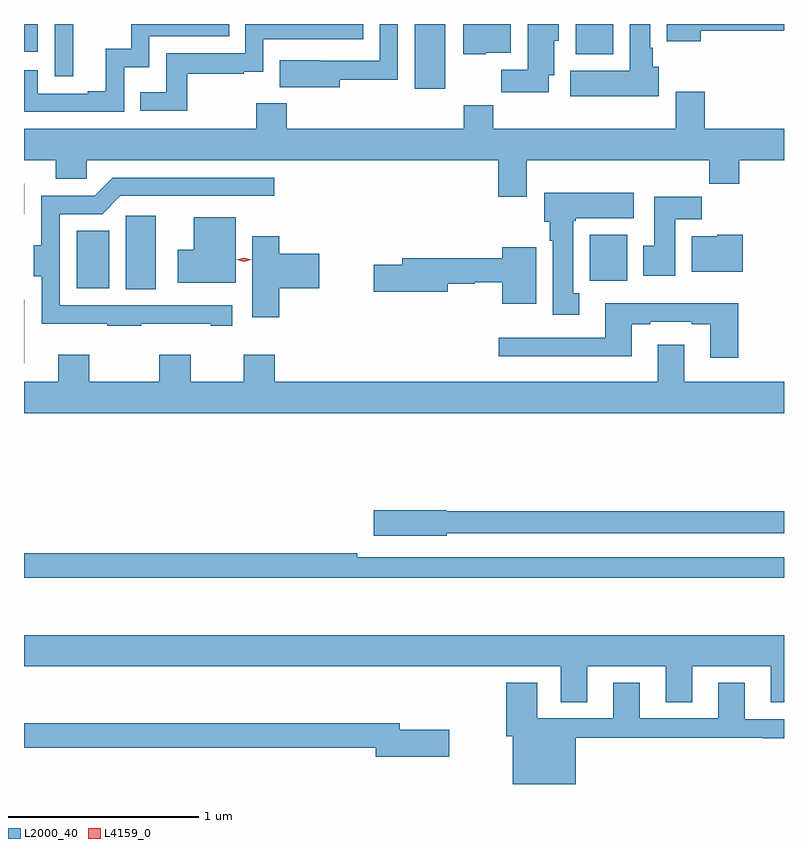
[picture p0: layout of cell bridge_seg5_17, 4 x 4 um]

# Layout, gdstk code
import gdstk
lib = gdstk.Library(unit=1e-6, precision=1e-09)
def R(c, l, rs):  # rectangles x0, y0, x1, y1
    for r in rs: c.add(gdstk.rectangle(r[:2], r[2:], *l))
def P(c, l, *ps):  # polygons
    for p in ps: c.add(gdstk.Polygon(p, *l))
L2000_40 = (2000, 40)
L4159_0 = (4159, 0)

bridge_seg5_17 = lib.new_cell('bridge_seg5_17')
R(bridge_seg5_17, L2000_40, [(1056.6,879.666,1056.601,880), (1057.136,880.057,1057.294,880.444), (1056.878,880.061,1057.048,880.363), (1059.578,880.1,1059.775,880.342), (1056.6,880.451,1056.601,880.612), (1058.657,881.112,1058.818,881.452), (1056.762,881.178,1056.859,881.452), (1059.503,881.294,1059.7,881.452), (1056.6,881.307,1056.672,881.452)])
P(bridge_seg5_17, L2000_40, [(1059.361,881.183),(1059.391,881.183),(1059.391,881.364),(1059.415,881.364),(1059.415,881.452),(1059.251,881.452),(1059.251,881.212),(1059.112,881.212),(1059.112,881.094),(1059.361,881.094)],
  [(1060.162,881.416),(1060.6,881.416),(1060.6,881.452),(1059.983,881.452),(1059.983,881.36),(1060.162,881.36)],
  [(1057.459,881.19),(1057.757,881.19),(1057.757,881.201),(1057.86,881.201),(1057.86,881.373),(1058.386,881.373),(1058.386,881.452),(1057.764,881.452),(1057.764,881.298),(1057.348,881.298),(1057.348,881.092),(1057.213,881.092),(1057.213,880.995),(1057.459,880.995)],
  [(1059.03,881.3),(1059.163,881.3),(1059.163,881.452),(1058.912,881.452),(1058.912,881.294),(1059.03,881.294)],
  [(1058.263,881.158),(1058.568,881.158),(1058.568,881.452),(1058.472,881.452),(1058.472,881.259),(1058.159,881.259),(1058.159,881.26),(1057.945,881.26),(1057.945,881.12),(1058.263,881.12)],
  [(1057.128,881.225),(1057.26,881.225),(1057.26,881.388),(1057.679,881.388),(1057.679,881.452),(1057.164,881.452),(1057.164,881.323),(1057.031,881.323),(1057.031,881.098),(1056.935,881.098),(1056.935,881.085),(1056.672,881.085),(1056.672,881.208),(1056.6,881.208),(1056.6,880.989),(1057.128,880.989)],
  [(1059.94,881.226),(1059.91,881.226),(1059.91,881.326),(1059.895,881.326),(1059.895,881.452),(1059.788,881.452),(1059.788,881.206),(1059.476,881.206),(1059.476,881.072),(1059.94,881.072)],
  [(1059.247,880.736),(1060.207,880.736),(1060.207,880.612),(1060.364,880.612),(1060.364,880.736),(1060.6,880.736),(1060.6,880.9),(1060.184,880.9),(1060.184,881.095),(1060.031,881.095),(1060.031,880.9),(1059.071,880.9),(1059.071,881.024),(1058.915,881.024),(1058.915,880.9),(1057.982,880.9),(1057.982,881.035),(1057.822,881.035),(1057.822,880.9),(1056.6,880.9),(1056.6,880.736),(1056.767,880.736),(1056.767,880.638),(1056.93,880.638),(1056.93,880.736),(1059.095,880.736),(1059.095,880.542),(1059.247,880.542)],
  [(1057.217,879.875),(1057.583,879.875),(1057.583,879.864),(1057.696,879.864),(1057.696,879.972),(1056.789,879.972),(1056.789,880.452),(1057.011,880.452),(1057.107,880.548),(1057.918,880.548),(1057.918,880.644),(1057.068,880.644),(1056.972,880.548),(1056.692,880.548),(1056.692,880.288),(1056.65,880.288),(1056.65,880.124),(1056.693,880.124),(1056.693,879.875),(1057.039,879.875),(1057.039,879.864),(1057.217,879.864)],
  [(1059.523,880.034),(1059.49,880.034),(1059.49,880.417),(1059.504,880.417),(1059.504,880.43),(1059.808,880.43),(1059.808,880.564),(1059.338,880.564),(1059.338,880.41),(1059.368,880.41),(1059.368,880.31),(1059.383,880.31),(1059.383,879.921),(1059.523,879.921)],
  [(1060.027,880.424),(1060.166,880.424),(1060.166,880.543),(1059.917,880.543),(1059.917,880.284),(1059.86,880.284),(1059.86,880.128),(1060.027,880.128)],
  [(1057.714,880.435),(1057.493,880.435),(1057.493,880.264),(1057.409,880.264),(1057.409,880.091),(1057.714,880.091)],
  [(1060.384,880.342),(1060.248,880.342),(1060.248,880.336),(1060.115,880.336),(1060.115,880.148),(1060.384,880.148)],
  [(1057.943,880.061),(1058.155,880.061),(1058.155,880.244),(1057.943,880.244),(1057.943,880.336),(1057.802,880.336),(1057.802,879.909),(1057.943,879.909)],
  [(1059.295,880.276),(1059.116,880.276),(1059.116,880.22),(1058.591,880.22),(1058.591,880.184),(1058.442,880.184),(1058.442,880.042),(1058.83,880.042),(1058.83,880.084),(1058.973,880.084),(1058.973,880.092),(1059.116,880.092),(1059.116,879.98),(1059.295,879.98)],
  [(1060.359,879.982),(1059.659,879.982),(1059.659,879.801),(1059.099,879.801),(1059.099,879.704),(1059.799,879.704),(1059.799,879.873),(1059.895,879.873),(1059.895,879.885),(1060.115,879.885),(1060.115,879.873),(1060.211,879.873),(1060.211,879.696),(1060.359,879.696)],
  [(1060.6,879.568),(1060.075,879.568),(1060.075,879.763),(1059.935,879.763),(1059.935,879.568),(1057.921,879.568),(1057.921,879.712),(1057.757,879.712),(1057.757,879.568),(1057.477,879.568),(1057.477,879.712),(1057.313,879.712),(1057.313,879.568),(1056.943,879.568),(1056.943,879.712),(1056.779,879.712),(1056.779,879.568),(1056.6,879.568),(1056.6,879.404),(1060.6,879.404)],
  [(1058.826,878.772),(1060.6,878.772),(1060.6,878.888),(1058.826,878.888),(1058.826,878.894),(1058.442,878.894),(1058.442,878.759),(1058.826,878.759)],
  [(1060.6,878.646),(1058.354,878.646),(1058.354,878.666),(1056.6,878.666),(1056.6,878.538),(1060.6,878.538)],
  [(1059.565,878.072),(1059.977,878.072),(1059.977,877.882),(1060.117,877.882),(1060.117,878.072),(1060.529,878.072),(1060.529,877.882),(1060.6,877.882),(1060.6,878.236),(1056.6,878.236),(1056.6,878.072),(1059.425,878.072),(1059.425,877.882),(1059.565,877.882)],
  [(1059.505,877.696),(1060.489,877.696),(1060.489,877.694),(1060.6,877.694),(1060.6,877.794),(1060.393,877.794),(1060.393,877.984),(1060.253,877.984),(1060.253,877.797),(1059.841,877.797),(1059.841,877.984),(1059.701,877.984),(1059.701,877.797),(1059.301,877.797),(1059.301,877.984),(1059.137,877.984),(1059.137,877.704),(1059.173,877.704),(1059.173,877.452),(1059.505,877.452)],
  [(1058.839,877.737),(1058.578,877.737),(1058.578,877.771),(1056.6,877.771),(1056.6,877.642),(1058.45,877.642),(1058.45,877.595),(1058.839,877.595)])
P(bridge_seg5_17, L4159_0, [(1057.758,880.202),(1057.72,880.212),(1057.72,880.212),(1057.72,880.212),(1057.758,880.222),(1057.796,880.212),(1057.796,880.212),(1057.796,880.212)])

lib.write_gds('bridge_seg5_17.gds')
